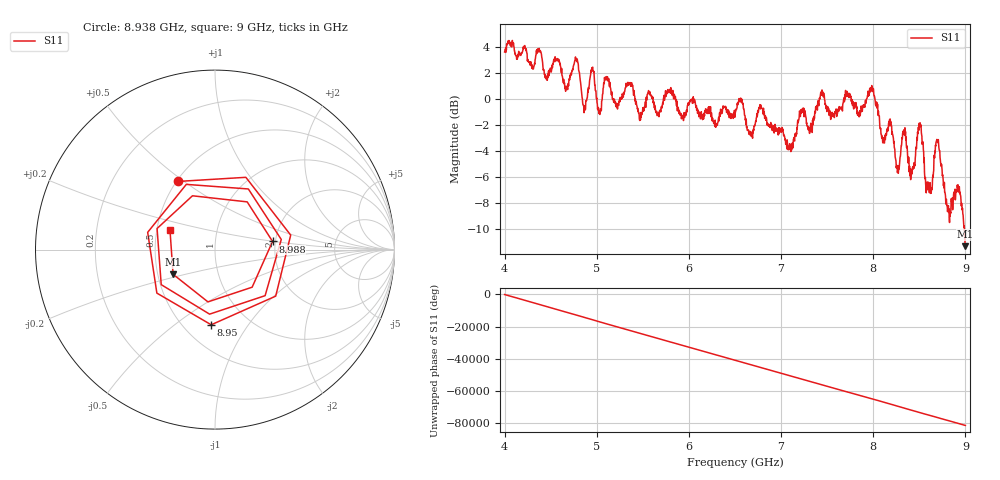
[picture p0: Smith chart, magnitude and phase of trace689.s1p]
! Created with skrf 1.8.0 (http://scikit-rf.org).
# Hz S RI R 50.0
!freq ReS11 ImS11
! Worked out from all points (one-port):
!   1601 points, 4 GHz to 9 GHz, reference 50 ohm
!   lowest |S11| = -11.3 dB at 8.997 GHz (marker M1), VSWR 1.74, Z = 30.1 - j8.92 ohm
!   |S11| at or under -10 dB: 8.988755 GHz to end of sweep
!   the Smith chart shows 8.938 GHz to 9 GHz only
!   S11 on the Smith chart (normalised r, x): 8.938 GHz: 0.51, +0.48; 8.95 GHz: 0.68, -0.69; 8.988 GHz: 1.93, +0.20; 9 GHz: 0.59, +0.14
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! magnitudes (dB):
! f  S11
! 4 GHz  3.6
! 4.625 GHz  1.8
! 4.775 GHz  3.1
! 4.862 GHz  -1.1
! 4.95 GHz  2.3
! 5.025 GHz  -1.1
! 5.25 GHz  -0.2
! 5.875 GHz  -0.9
! 6.5 GHz  -1.3
! 7.125 GHz  -3.7
! 7.441 GHz  0.3
! 7.75 GHz  0.4
! 7.988 GHz  0.8
! 8.097 GHz  -2.8
! 8.191 GHz  -1.8
! 8.262 GHz  -5.7
! 8.331 GHz  -2.5
! 8.375 GHz  -4.7
! 8.428 GHz  -5.3
! 8.503 GHz  -2.2
! 8.597 GHz  -6.8
! 8.697 GHz  -3.3
! 8.812 GHz  -8.4
! 8.938 GHz  -7.3
! 8.95 GHz  -7.5
! 8.988 GHz  -9.8
! 8.997 GHz  -11.3
! 9 GHz  -11.3
